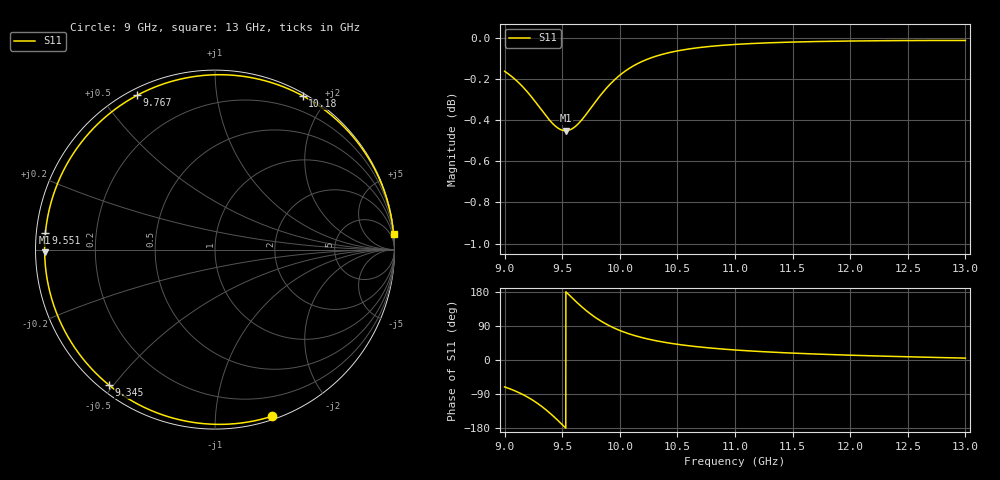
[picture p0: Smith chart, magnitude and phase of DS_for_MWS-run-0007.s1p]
! TOUCHSTONE file generated by CST DESIGN STUDIO
! Date and time: Tue Feb  4 13:59:18 2025
! Project name: C:\Work\MatlabApps\UnitCellOptimizationMatlab\CST\unitcell.cst
! Tree item: Tasks\Sweep1\SPara1\S-Parameters
! Header version: 2024
! Port assignment regex: !\s*Touchstone port\s*([0-9]+)\s*=\s*(CST MWS port|CST DES external port|CST DES block port)\s*(.+)\s* \(\"(.*)\"\)(\s*mode\s*([0-9]+))?.*
! Touchstone port assignment:
! Touchstone port 1 = CST DES external port 1 ("")
# GHz S MA R 50
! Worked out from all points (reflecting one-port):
!   4001 points, 9 GHz to 13 GHz, reference 50 ohm
!   lowest |S11| = -0.5 dB at 9.529 GHz (marker M1), VSWR 38.47, Z = 1.3 - j0.381 ohm
!   phase of S11 starts at -71 deg and turns -284 deg over the sweep
!   S11 on the Smith chart (normalised r, x): 9 GHz: 0.03, -1.40; 9.345 GHz: 0.03, -0.49; 9.551 GHz: 0.03, +0.05; 9.767 GHz: 0.03, +0.62; 10.18 GHz: 0.03, +1.72; 13 GHz: 0, +23
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9  0.9814 -71.0
9.096  0.9767 -82.3
9.203  0.9698 -98.5
9.277  0.964 -112.6
9.345  0.9584 -127.9
9.418  0.9531 -146.9
9.461  0.9508 -159.0
9.5  0.9496 -170.5
9.529  0.9493 -179.1
9.551  0.9495 174.3
9.605  0.9512 158.4
9.665  0.9548 141.6
9.716  0.9587 128.5
9.767  0.963 116.7
9.816  0.967 106.6
9.869  0.9711 96.9
9.934  0.9755 86.7
10  0.9793 77.9
10.085  0.9832 68.6
10.178  0.9864 60.3
10.325  0.99 50.2
10.5  0.9927 41.4
10.721  0.9948 33.5
11  0.9963 26.5
11.5  0.9976 18.2
12  0.9982 12.7
12.5  0.9984 8.5
13  0.9985 5.0
